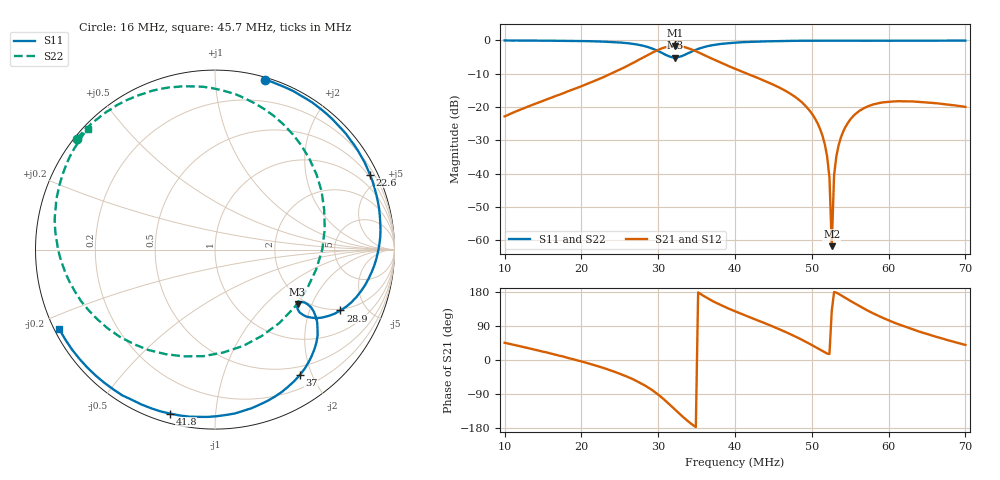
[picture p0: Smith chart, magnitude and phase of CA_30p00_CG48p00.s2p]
#  HZ  S  RI  R  50.00
! Rohde & Schwarz ZVT8 8Ports - Version 4.11 - 1300.0000k08 SN: 100242
! Date: 2026-07-31 14:41:49
! Measurements: S11 S21 S12 S22
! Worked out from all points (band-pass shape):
!   201 points, 10 MHz to 70 MHz, reference 50 ohm
!   highest |S21| = -1.61 dB at 32.2 MHz (marker M1); lowest = -61.8 dB at 52.6 MHz (marker M2)
!   |S21| within 3 dB of the highest: 28.48 MHz to 36.18 MHz (7.698 MHz wide, 23.8 % of centre)
!   lowest |S11| = -5.2 dB at 32.2 MHz (marker M3), VSWR 3.46, Z = 90.8 - j79.2 ohm
!   |S11| at or under -10 dB: nowhere
!   |S22| runs from -5.3 to 0.0 dB; largest |S21 - S12| = 0.0038
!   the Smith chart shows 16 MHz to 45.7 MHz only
!   S11 on the Smith chart (normalised r, x): 16 MHz: 0.02, +1.34; 22.6 MHz: 0.41, +4.33; 28.9 MHz: 1.93, -3.30; 37 MHz: 0.37, -1.82; 41.8 MHz: 0.04, -0.76; 45.7 MHz: 0.01, -0.24
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1e7  -0.4098 0.9084  0.0507 0.0516  0.0507 0.0516  -0.9184 0.3868
1.6e7  0.2807 0.9468  0.1304 0.0403  0.1307 0.0402  -0.7703 0.6182
2.02e7  0.7036 0.6738  0.2087 -0.018  0.208 -0.0178  -0.5842 0.7792
2.26e7  0.864 0.4175  0.2566 -0.0898  0.2581 -0.0893  -0.4214 0.8616
2.89e7  0.6989 -0.3392  0.1579 -0.603  0.1576 -0.6025  0.4349 0.641
3.01e7  0.565 -0.3821  -0.0367 -0.7267  -0.0361 -0.7265  0.5942 0.3242
3.22e7  0.4603 -0.3035  -0.5451 -0.6269  -0.5432 -0.6256  0.3605 -0.4073
3.4e7  0.5504 -0.3453  -0.724 -0.2143  -0.7242 -0.2147  -0.2762 -0.5823
3.7e7  0.4709 -0.7004  -0.4873 0.2108  -0.4877 0.2104  -0.8327 -0.1324
4e7  0.0608 -0.9214  -0.2333 0.2931  -0.2331 0.2928  -0.8851 0.2677
4.18e7  -0.252 -0.9134  -0.1242 0.2824  -0.1245 0.2811  -0.8441 0.4319
4.57e7  -0.8693 -0.4414  0.0285 0.1957  0.0282 0.1958  -0.7087 0.6734
5.02e7  -0.656 0.7393  0.0588 0.0446  0.0588 0.0444  -0.5264 0.8435
5.2e7  -0.053 0.9874  0.0172 0.00527  0.0172 0.00525  -0.4482 0.8888
5.23e7  0.0629 0.9871  0.00842 0.00238  0.00843 0.00233  -0.4356 0.8965
5.26e7  0.1795 0.9724  -0.000522 0.000625  -0.000524 0.000604  -0.4224 0.9031
5.29e7  0.2945 0.9435  -0.00945 7.8e-05  -0.00947 0.000108  -0.4098 0.9082
5.41e7  0.6981 0.6994  -0.042 0.00939  -0.042 0.00938  -0.3578 0.9296
5.65e7  0.9798 -0.1194  -0.0691 0.0604  -0.069 0.0605  -0.2562 0.9587
6.01e7  0.3582 -0.9186  -0.0289 0.1165  -0.0286 0.1161  -0.1117 0.9834
6.52e7  -0.6376 -0.756  0.0447 0.1078  0.0448 0.1073  0.089 0.9871
7e7  -0.9866 -0.0951  0.0772 0.0643  0.0771 0.064  0.276 0.9534
